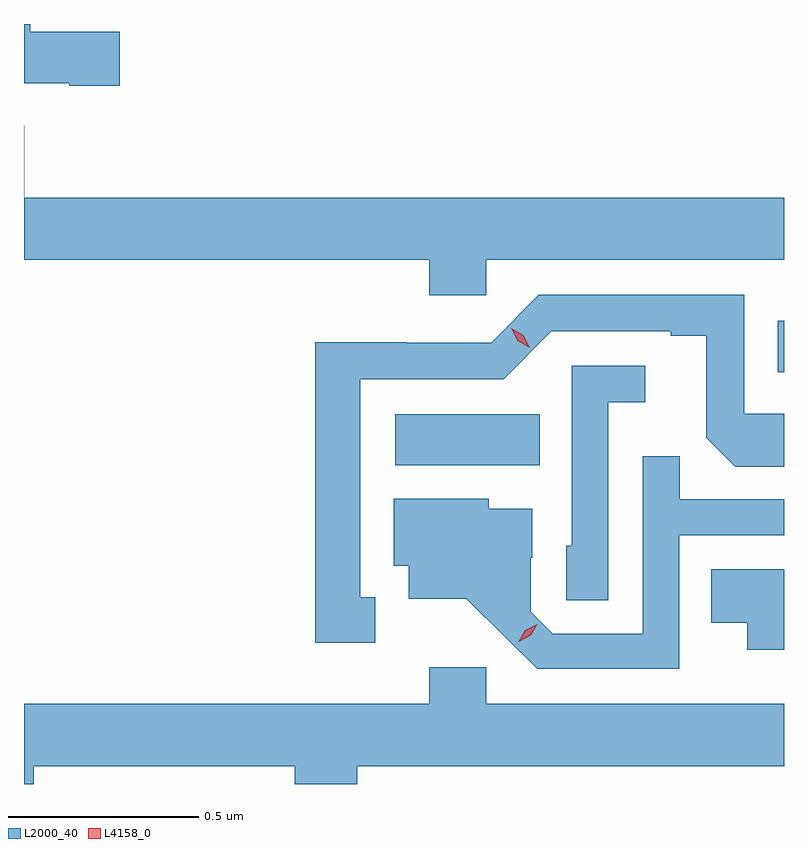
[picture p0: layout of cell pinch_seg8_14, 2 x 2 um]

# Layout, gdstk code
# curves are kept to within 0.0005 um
import gdstk
lib = gdstk.Library(unit=1e-6, precision=1e-09)
def R(c, l, rs):  # rectangles x0, y0, x1, y1
    for r in rs: c.add(gdstk.rectangle(r[:2], r[2:], *l))
def P(c, l, *ps):  # polygons
    for p in ps: c.add(gdstk.Polygon(p, *l))
L2000_40 = (2000, 40)
L4158_0 = (4158, 0)

pinch_seg8_14 = lib.new_cell('pinch_seg8_14')
R(pinch_seg8_14, L2000_40, [(1034.7,1125.284,1035.08,1125.418), (1035.707,1125.528,1035.723,1125.664)])
P(pinch_seg8_14, L2000_40, [(1033.975,1126.424),(1033.739,1126.424),(1033.739,1126.445),(1033.723,1126.445),(1033.723,1126.289),(1033.842,1126.289),(1033.842,1126.282),(1033.975,1126.282)],
  [(1034.94,1125.824),(1035.723,1125.824),(1035.723,1125.988),(1033.724,1125.988),(1033.724,1126.177),(1033.723,1126.177),(1033.723,1125.824),(1034.789,1125.824),(1034.789,1125.731),(1034.94,1125.731)],
  [(1034.647,1124.937),(1034.608,1124.937),(1034.608,1125.51),(1034.985,1125.51),(1035.111,1125.636),(1035.425,1125.636),(1035.425,1125.624),(1035.519,1125.624),(1035.519,1125.356),(1035.595,1125.28),(1035.723,1125.28),(1035.723,1125.42),(1035.618,1125.42),(1035.618,1125.732),(1035.078,1125.732),(1034.952,1125.606),(1034.73,1125.606),(1034.73,1125.608),(1034.49,1125.608),(1034.49,1124.817),(1034.647,1124.817)],
  [(1035.261,1125.449),(1035.358,1125.449),(1035.358,1125.546),(1035.165,1125.546),(1035.165,1125.072),(1035.15,1125.072),(1035.15,1124.929),(1035.261,1124.929)],
  [(1035.447,1125.099),(1035.723,1125.099),(1035.723,1125.195),(1035.449,1125.195),(1035.449,1125.308),(1035.351,1125.308),(1035.351,1124.841),(1035.114,1124.841),(1035.057,1124.898),(1035.057,1125.04),(1035.061,1125.04),(1035.061,1125.169),(1034.946,1125.169),(1034.946,1125.196),(1034.696,1125.196),(1034.696,1125.02),(1034.735,1125.02),(1034.735,1124.933),(1034.887,1124.933),(1035.074,1124.748),(1035.447,1124.748)],
  [(1035.723,1125.01),(1035.532,1125.01),(1035.532,1124.87),(1035.626,1124.87),(1035.626,1124.798),(1035.723,1124.798)],
  [(1035.723,1124.656),(1034.94,1124.656),(1034.94,1124.752),(1034.789,1124.752),(1034.789,1124.656),(1033.723,1124.656),(1033.723,1124.445),(1033.748,1124.445),(1033.748,1124.492),(1034.435,1124.492),(1034.435,1124.445),(1034.6,1124.445),(1034.6,1124.492),(1035.723,1124.492)])
P(pinch_seg8_14, L4158_0, [(1035.025,1124.82),(1035.025,1124.821),(1035.042,1124.85),(1035.073,1124.865),(1035.073,1124.865),(1035.073,1124.865),(1035.056,1124.836),(1035.025,1124.82)],
  [(1035.054,1125.593),(1035.022,1125.612),(1035.005,1125.644),(1035.005,1125.645),(1035.005,1125.645),(1035.037,1125.626),(1035.054,1125.593),(1035.054,1125.593)])

lib.write_gds('pinch_seg8_14.gds')
